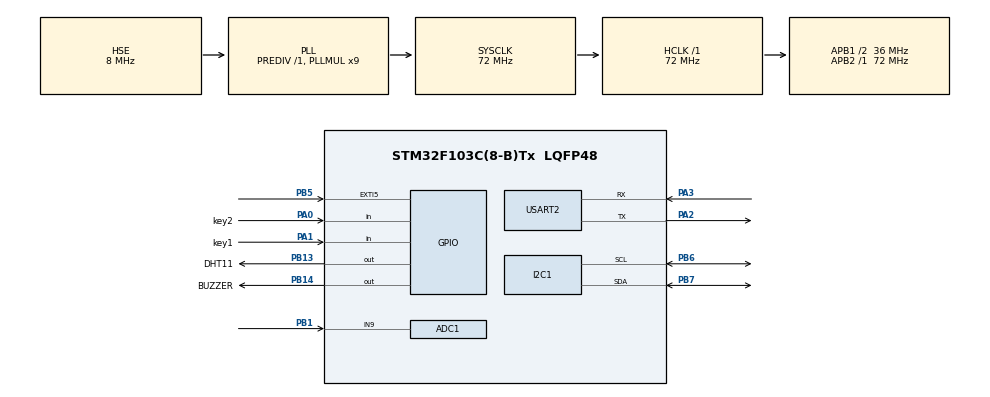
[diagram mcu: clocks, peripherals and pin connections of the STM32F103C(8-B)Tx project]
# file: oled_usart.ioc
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ADC1.Channel-11\#ChannelRegularConversion=ADC_CHANNEL_9
ADC1.ContinuousConvMode=ENABLE
ADC1.NbrOfConversionFlag=1
ADC1.Rank-11\#ChannelRegularConversion=1
ADC1.SamplingTime-11\#ChannelRegularConversion=ADC_SAMPLETIME_13CYCLES_5
ADC1.master=1
Dma.ADC1.0.Direction=DMA_PERIPH_TO_MEMORY
Dma.ADC1.0.Instance=DMA1_Channel1
Dma.ADC1.0.MemDataAlignment=DMA_MDATAALIGN_HALFWORD
Dma.ADC1.0.MemInc=DMA_MINC_ENABLE
Dma.ADC1.0.Mode=DMA_CIRCULAR
Dma.ADC1.0.PeriphDataAlignment=DMA_PDATAALIGN_HALFWORD
Dma.ADC1.0.PeriphInc=DMA_PINC_DISABLE
Dma.ADC1.0.Priority=DMA_PRIORITY_LOW
Dma.Request0=ADC1
Mcu.Family=STM32F1
Mcu.Name=STM32F103C(8-B)Tx
Mcu.Package=LQFP48
NVIC.EXTI9_5_IRQn=true\:3\:0\:true\:false\:true\:true\:true\:true
NVIC.PriorityGroup=NVIC_PRIORITYGROUP_4
NVIC.TIM2_IRQn=true\:0\:0\:false\:false\:true\:true\:true\:true
PA0-WKUP.GPIO_Label=key2
PA0-WKUP.Signal=GPIO_Input
PA1.GPIO_Label=key1
PA1.Signal=GPIO_Input
PA13.Mode=Serial_Wire
PA13.Signal=SYS_JTMS-SWDIO
PA14.Mode=Serial_Wire
PA14.Signal=SYS_JTCK-SWCLK
PA2.Mode=Asynchronous
PA2.Signal=USART2_TX
PA3.Mode=Asynchronous
PA3.Signal=USART2_RX
PB1.Signal=ADCx_IN9
PB13.GPIO_Label=DHT11
PB13.GPIO_PuPd=GPIO_NOPULL
PB13.GPIO_Speed=GPIO_SPEED_FREQ_LOW
PB13.PinState=GPIO_PIN_RESET
PB13.Signal=GPIO_Output
PB14.GPIO_Label=BUZZER
PB14.GPIO_Speed=GPIO_SPEED_FREQ_HIGH
PB14.PinState=GPIO_PIN_SET
PB14.Signal=GPIO_Output
PB5.GPIO_ModeDefaultEXTI=GPIO_MODE_IT_FALLING
PB5.Signal=GPXTI5
PB6.Mode=I2C
PB6.Signal=I2C1_SCL
PB7.Mode=I2C
PB7.Signal=I2C1_SDA
PC14-OSC32_IN.Mode=LSE-External-Oscillator
PC14-OSC32_IN.Signal=RCC_OSC32_IN
PC15-OSC32_OUT.Mode=LSE-External-Oscillator
PC15-OSC32_OUT.Signal=RCC_OSC32_OUT
PD0-OSC_IN.Mode=HSE-External-Oscillator
PD0-OSC_IN.Signal=RCC_OSC_IN
PD1-OSC_OUT.Mode=HSE-External-Oscillator
PD1-OSC_OUT.Signal=RCC_OSC_OUT
ProjectManager.HeapSize=0x200
ProjectManager.StackSize=0x400
ProjectManager.TargetToolchain=MDK-ARM V5
RCC.ADCPresc=RCC_ADCPCLK2_DIV6
RCC.AHBFreq_Value=72000000
RCC.APB1CLKDivider=RCC_HCLK_DIV2
RCC.APB1Freq_Value=36000000
RCC.APB1TimFreq_Value=72000000
RCC.APB2Freq_Value=72000000
RCC.APB2TimFreq_Value=72000000
RCC.HCLKFreq_Value=72000000
RCC.PLLMUL=RCC_PLL_MUL9
RCC.PLLSourceVirtual=RCC_PLLSOURCE_HSE
RCC.SYSCLKFreq_VALUE=72000000
RCC.SYSCLKSource=RCC_SYSCLKSOURCE_PLLCLK
RCC.USBFreq_Value=72000000
SH.ADCx_IN9.0=ADC1_IN9,IN9
TIM2.Period=10000-1
TIM2.Prescaler=72-1
USART2.VirtualMode=VM_ASYNC
VP_TIM2_VS_ClockSourceINT.Mode=Internal
board=custom

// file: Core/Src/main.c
/* USER CODE BEGIN Header */
/**
  ******************************************************************************
  * @file           : main.c
  * @brief          : Main program body
  ******************************************************************************
  * @attention
  *
  * Copyright (c) 2024 STMicroelectronics.
  * All rights reserved.
  *
  * This software is licensed under terms that can be found in the LICENSE file
  * in the root directory of this software component.
  * If no LICENSE file comes with this software, it is provided AS-IS.
  *
  ******************************************************************************
  */
/* USER CODE END Header */
#include "main.h"
#include "adc.h"
#include "dma.h"
#include "i2c.h"
#include "tim.h"
#include "usart.h"
#include "gpio.h"

/* USER CODE BEGIN Includes */
#include "oled.h"
#include "DHT11.h"
#include "passthing.h"
#include "buzzer.h"
#include "environment.h"
/* USER CODE END Includes */

/* USER CODE BEGIN PV */

char text[21];

uint16_t    adcbuff[ADC_LENGTH];
/* USER CODE END PV */

void SystemClock_Config(void);

int main(void)
{

  /* MCU Configuration--------------------------------------------------------*/

  /* Reset of all peripherals, Initializes the Flash interface and the Systick. */
  HAL_Init();

  /* Configure the system clock */
  SystemClock_Config();

  /* Initialize all configured peripherals */
  MX_GPIO_Init();
  MX_DMA_Init();
  MX_USART2_UART_Init();
  MX_I2C1_Init();
  MX_ADC1_Init();
  MX_TIM2_Init();
  /* USER CODE BEGIN 2 */
  OLED_Init();
  BUZZER_Init();
	DHT_init();

  /* USER CODE END 2 */

  /* Infinite loop */
  /* USER CODE BEGIN WHILE */

	HAL_Delay(500);
	OLED_ClearRAM();
	OLED_RefreshRAM();
	HAL_ADCEx_Calibration_Start(&hadc1);
	HAL_ADC_Start_DMA(&hadc1, (uint32_t *)adcbuff, ADC_LENGTH);    //打开DMA通道传输adc信息
	HAL_TIM_Base_Start_IT(&htim2);//打开定时器每10ms判断按钮是否按下
	///////////
	sprintf(text," setting            ");
	OLED_ShowStr(0,line8_1,(u8 *)text,1);

  while (1)
  {

//////////////////////////////////////////////
			key_do1();//按钮用于进入设置界面并可以关闭蜂鸣器警报以及调节温，湿度，光强阈值
//////////////////////////////////////////////
			PASS_DO1();//判断是否有物体通过，使用中断来标志

//////////////////////////////////////////////
			Light_do1();//读取光敏电阻的光强
//////////////////////////////////////////////
			DHT_do1();//读取温湿度
//////////////////////////////////////////////
			BUZZER_do();//判断是否需要蜂鸣器报警
//////////////////////////////////////////////

			OLED_RefreshRAM();//将所有数据都显示在oled上
//////////////////////////////////////////////
			//HAL_Delay(100);

    /* USER CODE END WHILE */

  }
}

void SystemClock_Config(void)
{
  RCC_OscInitTypeDef RCC_OscInitStruct = {0};
  RCC_ClkInitTypeDef RCC_ClkInitStruct = {0};
  RCC_PeriphCLKInitTypeDef PeriphClkInit = {0};

  /** Initializes the RCC Oscillators according to the specified parameters
  * in the RCC_OscInitTypeDef structure.
  */
  RCC_OscInitStruct.OscillatorType = RCC_OSCILLATORTYPE_HSE;
  RCC_OscInitStruct.HSEState = RCC_HSE_ON;
  RCC_OscInitStruct.HSEPredivValue = RCC_HSE_PREDIV_DIV1;
  RCC_OscInitStruct.HSIState = RCC_HSI_ON;
  RCC_OscInitStruct.PLL.PLLState = RCC_PLL_ON;
  RCC_OscInitStruct.PLL.PLLSource = RCC_PLLSOURCE_HSE;
  RCC_OscInitStruct.PLL.PLLMUL = RCC_PLL_MUL9;
  if (HAL_RCC_OscConfig(&RCC_OscInitStruct) != HAL_OK)
  {
    Error_Handler();
  }

  /** Initializes the CPU, AHB and APB buses clocks
  */
  RCC_ClkInitStruct.ClockType = RCC_CLOCKTYPE_HCLK|RCC_CLOCKTYPE_SYSCLK
                              |RCC_CLOCKTYPE_PCLK1|RCC_CLOCKTYPE_PCLK2;
  RCC_ClkInitStruct.SYSCLKSource = RCC_SYSCLKSOURCE_PLLCLK;
  RCC_ClkInitStruct.AHBCLKDivider = RCC_SYSCLK_DIV1;
  RCC_ClkInitStruct.APB1CLKDivider = RCC_HCLK_DIV2;
  RCC_ClkInitStruct.APB2CLKDivider = RCC_HCLK_DIV1;

  if (HAL_RCC_ClockConfig(&RCC_ClkInitStruct, FLASH_LATENCY_2) != HAL_OK)
  {
    Error_Handler();
  }
  PeriphClkInit.PeriphClockSelection = RCC_PERIPHCLK_ADC;
  PeriphClkInit.AdcClockSelection = RCC_ADCPCLK2_DIV6;
  if (HAL_RCCEx_PeriphCLKConfig(&PeriphClkInit) != HAL_OK)
  {
    Error_Handler();
  }
}

/* USER CODE BEGIN 4 */
/**
  * @brief  us����ʱ����
  * @param  delay ������ʱ��ʱ��
  * @retval ��
  */
void Delay_us(uint32_t udelay)
{
  uint32_t startval,tickn,delays,wait;

  startval = SysTick->VAL;
  tickn = HAL_GetTick();
  delays =udelay * 72;
  if(delays > startval)
  {
      while(HAL_GetTick() == tickn)
      {

      }
      wait = 72000 + startval - delays;
      while(wait < SysTick->VAL)
      {

      }
  }
  else
  {
      wait = startval - delays;
      while(wait < SysTick->VAL && HAL_GetTick() == tickn)
     {

     }
  }
}
/* USER CODE END 4 */

void Error_Handler(void)
{
  __disable_irq();
  while (1)
  {
  }
}
